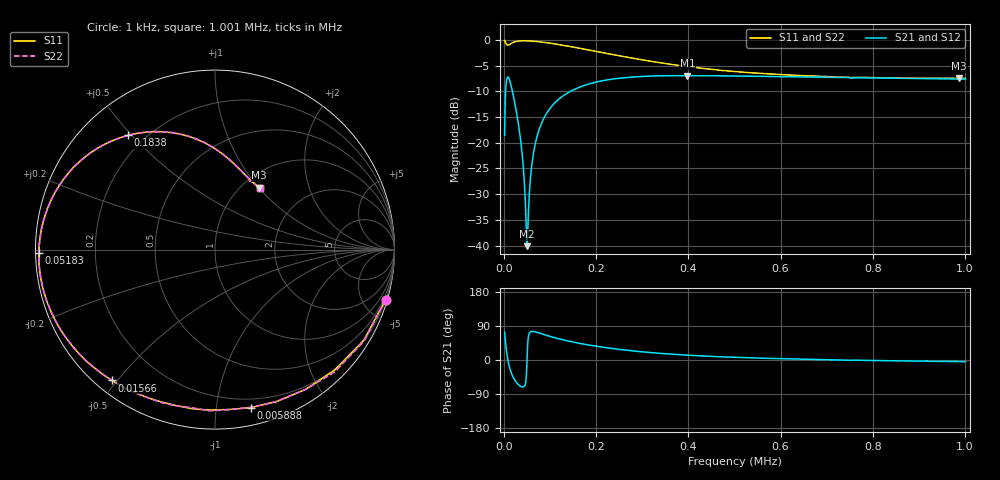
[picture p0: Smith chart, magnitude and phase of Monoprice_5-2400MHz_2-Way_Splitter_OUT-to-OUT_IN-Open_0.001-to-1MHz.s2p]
! ListType=Lin
! Comment=Monoprice_5-2400MHz_2-Way_Splitter_OUT-to-OUT_IN-Open_0.001-to-1MHz
# MHZ S DB R 50
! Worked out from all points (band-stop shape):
!   1024 points, 1 kHz to 1.001 MHz, reference 50 ohm
!   highest |S21| = -6.93 dB at 397.9 kHz (marker M1); lowest = -40.1 dB at 49.88 kHz (marker M2)
!   |S21| within 3 dB of the highest: 3.291 kHz to 17.77 kHz (14.48 kHz wide, 137 % of centre); 145.1 kHz to end of sweep
!   lowest |S11| = -7.5 dB at 987.3 kHz (marker M3), VSWR 2.47, Z = 59.8 + j50.3 ohm
!   |S11| at or under -10 dB: nowhere
!   |S22| runs from -7.5 to -0.1 dB; largest |S21 - S12| = 0.0015
!   S11 on the Smith chart (normalised r, x): 1 kHz: 0.24, -6.96; 5.888 kHz: 0.13, -1.24; 15.66 kHz: 0.05, -0.48; 51.83 kHz: 0.01, -0.01; 183.8 kHz: 0.14, +0.49; 1.001 MHz: 1.20, +1.01
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0.001  -0.08 -16.3  -18.52 73.8  -18.52 73.8  -0.08 -16.3
0.0058876  -0.89 -77.3  -7.53 16.2  -7.51 16.3  -0.90 -76.9
0.0107752  -0.92 -109.0  -7.55 -15.3  -7.57 -15.3  -0.89 -108.9
0.0156628  -0.65 -128.2  -9.10 -34.8  -9.10 -34.8  -0.65 -128.2
0.0234829  -0.35 -147.3  -12.45 -53.9  -12.45 -53.9  -0.35 -147.3
0.0352131  -0.16 -164.2  -19.11 -69.0  -19.10 -69.0  -0.17 -164.2
0.0410782  -0.14 -170.2  -24.20 -71.2  -24.18 -71.2  -0.14 -170.2
0.0469433  -0.15 -175.3  -33.71 -57.3  -33.65 -57.6  -0.15 -175.3
0.0498759  -0.15 -177.6  -40.13 9.0  -40.16 7.8  -0.16 -177.6
0.0518309  -0.16 -179.0  -35.57 54.4  -35.67 54.0  -0.16 -179.0
0.0625836  -0.23 173.9  -22.62 75.5  -22.65 75.5  -0.23 173.9
0.0811564  -0.39 163.9  -16.20 69.3  -16.22 69.3  -0.39 163.9
0.114392  -0.81 149.6  -11.84 57.2  -11.85 57.2  -0.81 149.6
0.1681554  -1.68 131.6  -9.02 42.9  -9.03 42.9  -1.68 131.7
0.1837957  -1.95 127.2  -8.56 39.6  -8.57 39.6  -1.94 127.3
0.3353109  -4.37 96.5  -6.98 17.8  -6.98 17.8  -4.37 96.5
0.3978719  -5.17 88.3  -6.93 12.7  -6.93 12.7  -5.16 88.4
0.5014888  -6.14 78.2  -7.01 7.0  -7.01 7.1  -6.13 78.3
0.6676667  -7.00 67.2  -7.21 1.6  -7.21 1.6  -7.00 67.2
0.8348221  -7.36 59.7  -7.42 -1.9  -7.42 -1.9  -7.36 59.7
0.9873148  -7.45 54.4  -7.60 -4.2  -7.60 -4.2  -7.45 54.4
1.001  -7.45 54.0  -7.61 -4.4  -7.61 -4.4  -7.45 54.0
